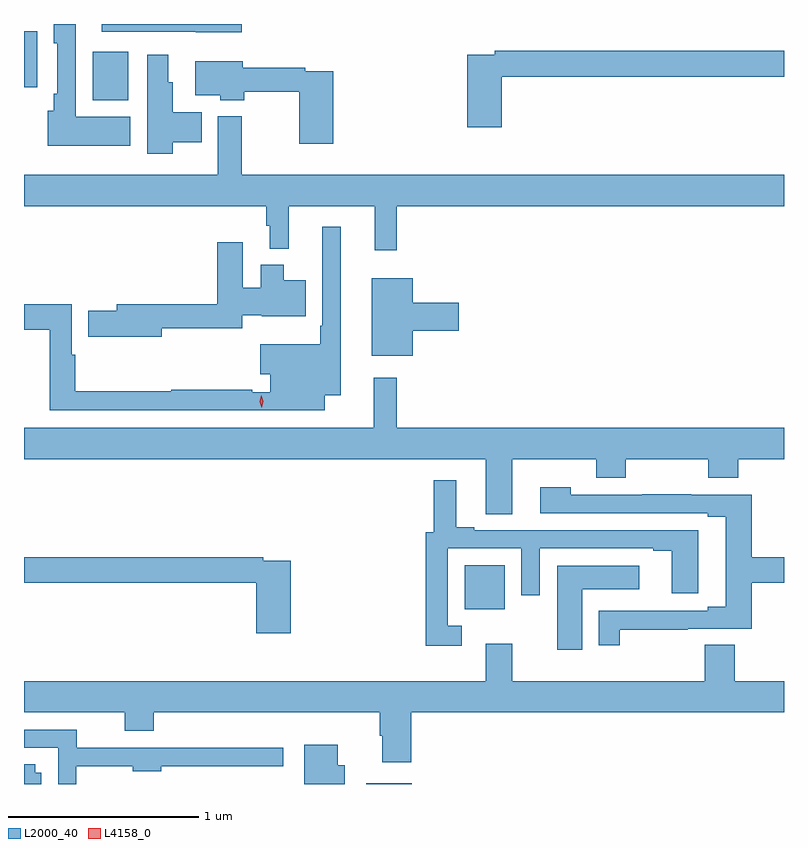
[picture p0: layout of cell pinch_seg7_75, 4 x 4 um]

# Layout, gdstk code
import gdstk
lib = gdstk.Library(unit=1e-6, precision=1e-09)
def R(c, l, rs):  # rectangles x0, y0, x1, y1
    for r in rs: c.add(gdstk.rectangle(r[:2], r[2:], *l))
def P(c, l, *ps):  # polygons
    for p in ps: c.add(gdstk.Polygon(p, *l))
L2000_40 = (2000, 40)
L4158_0 = (4158, 0)

pinch_seg7_75 = lib.new_cell('pinch_seg7_75')
R(pinch_seg7_75, L2000_40, [(996.635,1069.502,996.874,1069.507), (997.154,1070.423,997.363,1070.653), (995.195,1073.102,995.383,1073.356), (994.834,1073.168,994.903,1073.464)])
P(pinch_seg7_75, L2000_40, [(995.392,1073.014),(995.106,1073.014),(995.106,1073.502),(994.991,1073.502),(994.991,1073.4),(995.01,1073.4),(995.01,1073.134),(994.99,1073.134),(994.99,1073.046),(994.958,1073.046),(994.958,1072.862),(995.392,1072.862)],
  [(995.98,1073.502),(995.243,1073.502),(995.243,1073.46),(995.739,1073.46),(995.739,1073.459),(995.98,1073.459)],
  [(997.349,1073.224),(998.834,1073.224),(998.834,1073.36),(997.312,1073.36),(997.312,1073.34),(997.166,1073.34),(997.166,1072.959),(997.349,1072.959)],
  [(995.617,1072.88),(995.77,1072.88),(995.77,1073.038),(995.617,1073.038),(995.617,1073.196),(995.593,1073.196),(995.593,1073.341),(995.483,1073.341),(995.483,1072.82),(995.617,1072.82)],
  [(996.461,1073.253),(996.314,1073.253),(996.314,1073.273),(995.986,1073.273),(995.986,1073.305),(995.735,1073.305),(995.735,1073.126),(995.868,1073.126),(995.868,1073.102),(995.994,1073.102),(995.994,1073.145),(996.283,1073.145),(996.283,1072.872),(996.461,1072.872)],
  [(996.797,1072.544),(998.834,1072.544),(998.834,1072.708),(995.979,1072.708),(995.979,1073.017),(995.855,1073.017),(995.855,1072.708),(994.834,1072.708),(994.834,1072.544),(996.109,1072.544),(996.109,1072.441),(996.128,1072.441),(996.128,1072.319),(996.227,1072.319),(996.227,1072.544),(996.68,1072.544),(996.68,1072.311),(996.797,1072.311)],
  [(996.418,1071.548),(996.502,1071.548),(996.502,1072.435),(996.405,1072.435),(996.405,1071.913),(996.393,1071.913),(996.393,1071.817),(996.078,1071.817),(996.078,1071.659),(996.131,1071.659),(996.131,1071.564),(996.035,1071.564),(996.035,1071.577),(995.609,1071.577),(995.609,1071.569),(995.105,1071.569),(995.105,1071.761),(995.085,1071.761),(995.085,1072.028),(994.834,1072.028),(994.834,1071.892),(994.969,1071.892),(994.969,1071.468),(996.418,1071.468)],
  [(995.56,1071.9),(995.982,1071.9),(995.982,1071.969),(996.084,1071.969),(996.084,1071.965),(996.316,1071.965),(996.316,1072.153),(996.202,1072.153),(996.202,1072.234),(996.08,1072.234),(996.08,1072.113),(995.986,1072.113),(995.986,1072.354),(995.852,1072.354),(995.852,1072.028),(995.321,1072.028),(995.321,1071.992),(995.172,1071.992),(995.172,1071.857),(995.56,1071.857)],
  [(996.88,1071.887),(997.123,1071.887),(997.123,1072.034),(996.88,1072.034),(996.88,1072.165),(996.665,1072.165),(996.665,1071.755),(996.88,1071.755)],
  [(997.405,1071.212),(997.846,1071.212),(997.846,1071.113),(998.001,1071.113),(998.001,1071.212),(998.434,1071.212),(998.434,1071.113),(998.594,1071.113),(998.594,1071.212),(998.834,1071.212),(998.834,1071.376),(996.797,1071.376),(996.797,1071.64),(996.676,1071.64),(996.676,1071.376),(994.834,1071.376),(994.834,1071.212),(997.265,1071.212),(997.265,1070.923),(997.405,1070.923)],
  [(997.138,1070.334),(997.065,1070.334),(997.065,1070.742),(997.452,1070.742),(997.452,1070.496),(997.548,1070.496),(997.548,1070.742),(998.147,1070.742),(998.147,1070.73),(998.243,1070.73),(998.243,1070.505),(998.383,1070.505),(998.383,1070.838),(997.204,1070.838),(997.204,1070.853),(997.108,1070.853),(997.108,1071.1),(996.99,1071.1),(996.99,1070.826),(996.949,1070.826),(996.949,1070.229),(997.138,1070.229)],
  [(997.969,1070.314),(998.327,1070.314),(998.327,1070.319),(998.663,1070.319),(998.663,1070.56),(998.834,1070.56),(998.834,1070.696),(998.663,1070.696),(998.663,1071.024),(998.345,1071.024),(998.345,1071.026),(998.089,1071.026),(998.089,1071.024),(997.712,1071.024),(997.712,1071.064),(997.551,1071.064),(997.551,1070.928),(998.432,1070.928),(998.432,1070.908),(998.528,1070.908),(998.528,1070.435),(998.432,1070.435),(998.432,1070.415),(997.86,1070.415),(997.86,1070.232),(997.969,1070.232)],
  [(996.239,1070.676),(996.092,1070.676),(996.092,1070.696),(994.834,1070.696),(994.834,1070.56),(996.056,1070.56),(996.056,1070.295),(996.239,1070.295)],
  [(997.771,1070.528),(998.071,1070.528),(998.071,1070.65),(997.64,1070.65),(997.64,1070.208),(997.771,1070.208)],
  [(996.872,1069.88),(998.834,1069.88),(998.834,1070.044),(998.576,1070.044),(998.576,1070.234),(998.416,1070.234),(998.416,1070.044),(997.405,1070.044),(997.405,1070.239),(997.265,1070.239),(997.265,1070.044),(994.834,1070.044),(994.834,1069.88),(995.363,1069.88),(995.363,1069.781),(995.516,1069.781),(995.516,1069.88),(996.707,1069.88),(996.707,1069.757),(996.719,1069.757),(996.719,1069.617),(996.872,1069.617)],
  [(995.109,1069.596),(995.406,1069.596),(995.406,1069.568),(995.556,1069.568),(995.556,1069.596),(995.86,1069.596),(995.86,1069.595),(996.199,1069.595),(996.199,1069.694),(995.112,1069.694),(995.112,1069.788),(994.834,1069.788),(994.834,1069.692),(995.013,1069.692),(995.013,1069.502),(995.109,1069.502)],
  [(996.523,1069.6),(996.484,1069.6),(996.484,1069.708),(996.308,1069.708),(996.308,1069.502),(996.523,1069.502)],
  [(994.924,1069.561),(994.894,1069.561),(994.894,1069.607),(994.834,1069.607),(994.834,1069.502),(994.924,1069.502)])
P(pinch_seg7_75, L4158_0, [(996.084,1071.482),(996.084,1071.483),(996.074,1071.515),(996.082,1071.549),(996.082,1071.549),(996.083,1071.549),(996.093,1071.516),(996.085,1071.483)])

lib.write_gds('pinch_seg7_75.gds')
